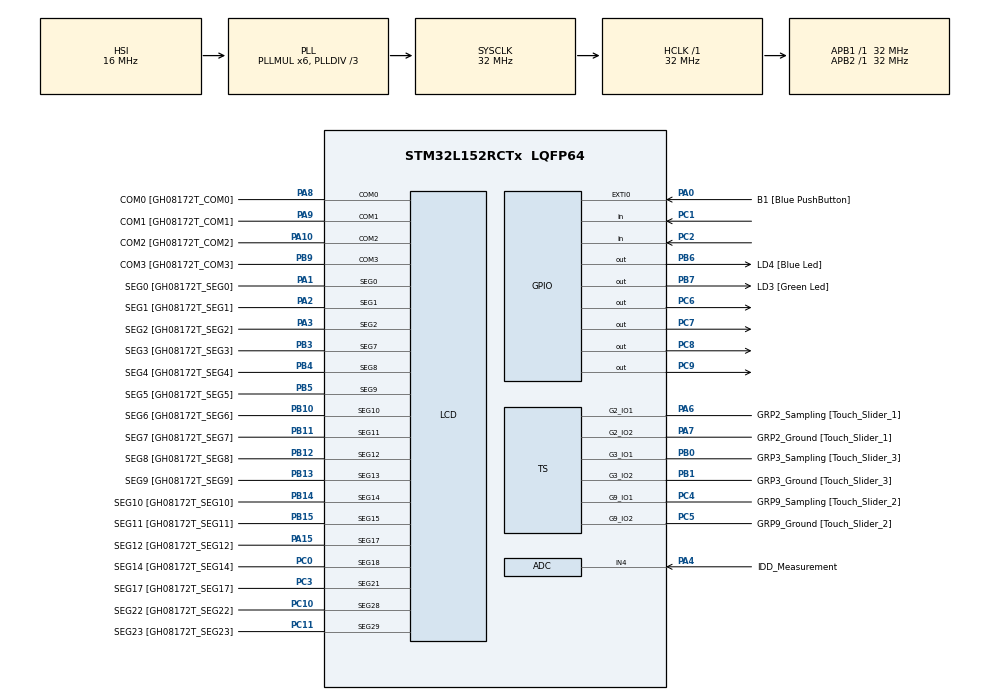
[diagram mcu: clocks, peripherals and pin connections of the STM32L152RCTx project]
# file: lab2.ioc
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ADC.Channel=ADC_CHANNEL_4
ADC.Channel-0\#ChannelRegularConversion=ADC_CHANNEL_4
ADC.Channel-IN4=ADC_CHANNEL_4
ADC.ExternalTrigConv=ADC_EXTERNALTRIGCONV_T2_CC3
ADC.ExternalTrigConv-0\#ChannelRegularConversion=ADC_SOFTWARE_START
ADC.ExternalTrigConvEdge=ADC_EXTERNALTRIGCONVEDGE_RISING
ADC.Rank-0\#ChannelRegularConversion=1
ADC.SamplingTime-0\#ChannelRegularConversion=ADC_SAMPLETIME_4CYCLES
Mcu.Family=STM32L1
Mcu.Name=STM32L152RCTx
Mcu.Package=LQFP64
NVIC.PriorityGroup=NVIC_PRIORITYGROUP_0
PA0-WKUP1.GPIO_Label=B1 [Blue PushButton]
PA0-WKUP1.GPIO_ModeDefaultEXTI=GPIO_MODE_EVT_RISING
PA0-WKUP1.GPIO_PuPd=GPIO_NOPULL
PA0-WKUP1.Signal=GPXTI0
PA1.GPIO_Label=SEG0 [GH08172T_SEG0]
PA1.GPIO_Mode=GPIO_MODE_AF_PP
PA1.GPIO_PuPd=GPIO_NOPULL
PA1.GPIO_Speed=GPIO_SPEED_FREQ_LOW
PA1.Mode=SEG0
PA1.Signal=LCD_SEG0
PA10.GPIO_Label=COM2 [GH08172T_COM2]
PA10.GPIO_Mode=GPIO_MODE_AF_PP
PA10.GPIO_PuPd=GPIO_NOPULL
PA10.GPIO_Speed=GPIO_SPEED_FREQ_LOW
PA10.Mode=1/4 Duty Cycle
PA10.Signal=LCD_COM2
PA13.GPIO_Label=SWDIO
PA13.Mode=Serial_Wire
PA13.Signal=SYS_JTMS-SWDIO
PA14.GPIO_Label=SWCLK
PA14.Mode=Serial_Wire
PA14.Signal=SYS_JTCK-SWCLK
PA15.GPIO_Label=SEG12 [GH08172T_SEG12]
PA15.GPIO_Mode=GPIO_MODE_AF_PP
PA15.GPIO_PuPd=GPIO_NOPULL
PA15.GPIO_Speed=GPIO_SPEED_FREQ_LOW
PA15.Mode=SEG17
PA15.Signal=LCD_SEG17
PA2.GPIO_Label=SEG1 [GH08172T_SEG1]
PA2.GPIO_Mode=GPIO_MODE_AF_PP
PA2.GPIO_PuPd=GPIO_NOPULL
PA2.GPIO_Speed=GPIO_SPEED_FREQ_LOW
PA2.Mode=SEG1
PA2.Signal=LCD_SEG1
PA3.GPIO_Label=SEG2 [GH08172T_SEG2]
PA3.GPIO_Mode=GPIO_MODE_AF_PP
PA3.GPIO_PuPd=GPIO_NOPULL
PA3.GPIO_Speed=GPIO_SPEED_FREQ_LOW
PA3.Mode=SEG2
PA3.Signal=LCD_SEG2
PA4.GPIO_Label=IDD_Measurement
PA4.GPIO_Mode=GPIO_MODE_ANALOG
PA4.GPIO_PuPd=GPIO_NOPULL
PA4.Mode=IN4
PA4.Signal=ADC_IN4
PA6.GPIO_Label=GRP2_Sampling [Touch_Slider_1]
PA6.Mode=G2_IO1-Sampling
PA6.Signal=TS_G2_IO1
PA7.GPIO_Label=GRP2_Ground [Touch_Slider_1]
PA7.Mode=G2_IO2-Channel
PA7.Signal=TS_G2_IO2
PA8.GPIO_Label=COM0 [GH08172T_COM0]
PA8.GPIO_Mode=GPIO_MODE_AF_PP
PA8.GPIO_PuPd=GPIO_NOPULL
PA8.GPIO_Speed=GPIO_SPEED_FREQ_LOW
PA8.Mode=1/4 Duty Cycle
PA8.Signal=LCD_COM0
PA9.GPIO_Label=COM1 [GH08172T_COM1]
PA9.GPIO_Mode=GPIO_MODE_AF_PP
PA9.GPIO_PuPd=GPIO_NOPULL
PA9.GPIO_Speed=GPIO_SPEED_FREQ_LOW
PA9.Mode=1/4 Duty Cycle
PA9.Signal=LCD_COM1
PB0.GPIO_Label=GRP3_Sampling [Touch_Slider_3]
PB0.Mode=G3_IO1-Sampling
PB0.Signal=TS_G3_IO1
PB1.GPIO_Label=GRP3_Ground [Touch_Slider_3]
PB1.Mode=G3_IO2-Channel
PB1.Signal=TS_G3_IO2
PB10.GPIO_Label=SEG6 [GH08172T_SEG6]
PB10.GPIO_Mode=GPIO_MODE_AF_PP
PB10.GPIO_PuPd=GPIO_NOPULL
PB10.GPIO_Speed=GPIO_SPEED_FREQ_LOW
PB10.Mode=SEG10
PB10.Signal=LCD_SEG10
PB11.GPIO_Label=SEG7 [GH08172T_SEG7]
PB11.GPIO_Mode=GPIO_MODE_AF_PP
PB11.GPIO_PuPd=GPIO_NOPULL
PB11.GPIO_Speed=GPIO_SPEED_FREQ_LOW
PB11.Mode=SEG11
PB11.Signal=LCD_SEG11
PB12.GPIO_Label=SEG8 [GH08172T_SEG8]
PB12.GPIO_Mode=GPIO_MODE_AF_PP
PB12.GPIO_PuPd=GPIO_NOPULL
PB12.GPIO_Speed=GPIO_SPEED_FREQ_LOW
PB12.Mode=SEG12
PB12.Signal=LCD_SEG12
PB13.GPIO_Label=SEG9 [GH08172T_SEG9]
PB13.GPIO_Mode=GPIO_MODE_AF_PP
PB13.GPIO_PuPd=GPIO_NOPULL
PB13.GPIO_Speed=GPIO_SPEED_FREQ_LOW
PB13.Mode=SEG13
PB13.Signal=LCD_SEG13
PB14.GPIO_Label=SEG10 [GH08172T_SEG10]
PB14.GPIO_Mode=GPIO_MODE_AF_PP
PB14.GPIO_PuPd=GPIO_NOPULL
PB14.GPIO_Speed=GPIO_SPEED_FREQ_LOW
PB14.Mode=SEG14
PB14.Signal=LCD_SEG14
PB15.GPIO_Label=SEG11 [GH08172T_SEG11]
PB15.GPIO_Mode=GPIO_MODE_AF_PP
PB15.GPIO_PuPd=GPIO_NOPULL
PB15.GPIO_Speed=GPIO_SPEED_FREQ_LOW
PB15.Mode=SEG15
PB15.Signal=LCD_SEG15
PB3.GPIO_Label=SEG3 [GH08172T_SEG3]
PB3.GPIO_Mode=GPIO_MODE_AF_PP
PB3.GPIO_PuPd=GPIO_NOPULL
PB3.GPIO_Speed=GPIO_SPEED_FREQ_LOW
PB3.Mode=SEG7
PB3.Signal=LCD_SEG7
PB4.GPIO_Label=SEG4 [GH08172T_SEG4]
PB4.GPIO_Mode=GPIO_MODE_AF_PP
PB4.GPIO_PuPd=GPIO_NOPULL
PB4.GPIO_Speed=GPIO_SPEED_FREQ_LOW
PB4.Mode=SEG8
PB4.Signal=LCD_SEG8
PB5.GPIO_Label=SEG5 [GH08172T_SEG5]
PB5.GPIO_Mode=GPIO_MODE_AF_PP
PB5.GPIO_PuPd=GPIO_NOPULL
PB5.GPIO_Speed=GPIO_SPEED_FREQ_LOW
PB5.Mode=SEG9
PB5.Signal=LCD_SEG9
PB6.GPIO_Label=LD4 [Blue Led]
PB6.GPIO_ModeDefaultOutputPP=GPIO_MODE_OUTPUT_PP
PB6.GPIO_PuPd=GPIO_NOPULL
PB6.GPIO_Speed=GPIO_SPEED_FREQ_LOW
PB6.Signal=GPIO_Output
PB7.GPIO_Label=LD3 [Green Led]
PB7.GPIO_ModeDefaultOutputPP=GPIO_MODE_OUTPUT_PP
PB7.GPIO_PuPd=GPIO_NOPULL
PB7.GPIO_Speed=GPIO_SPEED_FREQ_LOW
PB7.Signal=GPIO_Output
PB9.GPIO_Label=COM3 [GH08172T_COM3]
PB9.GPIO_Mode=GPIO_MODE_AF_PP
PB9.GPIO_PuPd=GPIO_NOPULL
PB9.GPIO_Speed=GPIO_SPEED_FREQ_LOW
PB9.Mode=1/4 Duty Cycle
PB9.Signal=LCD_COM3
PC0.GPIO_Label=SEG14 [GH08172T_SEG14]
PC0.GPIO_Mode=GPIO_MODE_AF_PP
PC0.GPIO_PuPd=GPIO_NOPULL
PC0.GPIO_Speed=GPIO_SPEED_FREQ_LOW
PC0.Mode=SEG18
PC0.Signal=LCD_SEG18
PC1.Signal=GPIO_Input
PC10.GPIO_Label=SEG22 [GH08172T_SEG22]
PC10.GPIO_Mode=GPIO_MODE_AF_PP
PC10.GPIO_PuPd=GPIO_NOPULL
PC10.GPIO_Speed=GPIO_SPEED_FREQ_LOW
PC10.Mode=SEG28
PC10.Signal=LCD_SEG28
PC11.GPIO_Label=SEG23 [GH08172T_SEG23]
PC11.GPIO_Mode=GPIO_MODE_AF_PP
PC11.GPIO_PuPd=GPIO_NOPULL
PC11.GPIO_Speed=GPIO_SPEED_FREQ_LOW
PC11.Mode=SEG29
PC11.Signal=LCD_SEG29
PC14-OSC32_IN.GPIO_Label=PC14-OSC32_IN
PC14-OSC32_IN.Mode=LSE-External-Oscillator
PC14-OSC32_IN.Signal=RCC_OSC32_IN
PC15-OSC32_OUT.GPIO_Label=PC15-OSC32_OUT
PC15-OSC32_OUT.Mode=LSE-External-Oscillator
PC15-OSC32_OUT.Signal=RCC_OSC32_OUT
PC2.Signal=GPIO_Input
PC3.GPIO_Label=SEG17 [GH08172T_SEG17]
PC3.GPIO_Mode=GPIO_MODE_AF_PP
PC3.GPIO_PuPd=GPIO_NOPULL
PC3.GPIO_Speed=GPIO_SPEED_FREQ_LOW
PC3.Mode=SEG21
PC3.Signal=LCD_SEG21
PC4.GPIO_Label=GRP9_Sampling [Touch_Slider_2]
PC4.Mode=G9_IO1-Sampling
PC4.Signal=TS_G9_IO1
PC5.GPIO_Label=GRP9_Ground [Touch_Slider_2]
PC5.Mode=G9_IO2-Channel
PC5.Signal=TS_G9_IO2
PC6.Signal=GPIO_Output
PC7.Signal=GPIO_Output
PC8.Signal=GPIO_Output
PC9.Signal=GPIO_Output
ProjectManager.HeapSize=0x200
ProjectManager.StackSize=0x400
ProjectManager.TargetToolchain=STM32CubeIDE
RCC.48MHZClocksFreq_Value=48000000
RCC.AHBFreq_Value=32000000
RCC.APB1Freq_Value=32000000
RCC.APB1TimFreq_Value=32000000
RCC.APB2Freq_Value=32000000
RCC.APB2TimFreq_Value=32000000
RCC.HCLKFreq_Value=32000000
RCC.HSE_VALUE=8000000
RCC.HSI_VALUE=16000000
RCC.MSI_VALUE=2097000
RCC.PLLDIV=RCC_PLL_DIV3
RCC.PLLMUL=RCC_PLL_MUL6
RCC.RTCClockSelectionVirtual=RCC_RTCCLKSOURCE_LSE
RCC.SYSCLKFreq_VALUE=32000000
RCC.SYSCLKSource=RCC_SYSCLKSOURCE_PLLCLK
RCC.USBOutput=48000000
RCC.VCOOutputFreq_Value=96000000
VP_TIM4_VS_ClockSourceINT.Mode=Internal
board=STM32L152C-DISCO

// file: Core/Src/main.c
/* USER CODE BEGIN Header */
/**
  ******************************************************************************
  * @file           : main.c
  * @brief          : Main program body
  ******************************************************************************
  * @attention
  *
  * Copyright (c) 2024 STMicroelectronics.
  * All rights reserved.
  *
  * This software is licensed under terms that can be found in the LICENSE file
  * in the root directory of this software component.
  * If no LICENSE file comes with this software, it is provided AS-IS.
  *
  ******************************************************************************
  */
/* USER CODE END Header */
#include "main.h"
#include "stm32l152c_discovery.h"

/* USER CODE BEGIN PD */
#define MOTOR_A_IN1_PIN GPIO_PIN_6 // PC6
#define MOTOR_A_IN2_PIN GPIO_PIN_7 // PC7
#define MOTOR_B_IN3_PIN GPIO_PIN_8 // PC8
#define MOTOR_B_IN4_PIN GPIO_PIN_9 // PC9
#define BUZZER_PIN GPIO_PIN_8 // PB8
/* USER CODE END PD */

ADC_HandleTypeDef hadc;

LCD_HandleTypeDef hlcd;

TIM_HandleTypeDef htim4;

/* USER CODE BEGIN PV */
unsigned char SENSOR_1 = 0; // 0 for white 1 for black
unsigned char SENSOR_2 = 0;
unsigned char state;
/* USER CODE END PV */

void SystemClock_Config(void);
static void MX_GPIO_Init(void);
static void MX_ADC_Init(void);
static void MX_LCD_Init(void);
static void MX_TS_Init(void);
static void MX_TIM4_Init(void);

/* USER CODE BEGIN 0 */
void stopWheels(void) {
    // Stop both motors
    GPIOC->BSRR = (GPIO_PIN_6 | GPIO_PIN_7 | GPIO_PIN_8 | GPIO_PIN_9) << 16;
}
void moveForward(void) {
    // Move both motors forward
    GPIOC->BSRR = GPIO_PIN_6 | GPIO_PIN_8;
    GPIOC->BSRR = (GPIO_PIN_7 | GPIO_PIN_9) << 16;
}

void turnRight(void) {
    // Turn right by moving right motor forward and left motor backward
    GPIOC->BSRR = GPIO_PIN_6 | GPIO_PIN_9;
    GPIOC->BSRR = (GPIO_PIN_7) << 16;
    GPIOC->BSRR = (GPIO_PIN_8) << 16;
}

void turnLeft(void) {
    // Turn left by moving left motor forward and right motor backward
    GPIOC->BSRR = GPIO_PIN_7 | GPIO_PIN_8;
    GPIOC->BSRR = (GPIO_PIN_6) << 16;
    GPIOC->BSRR = (GPIO_PIN_9) << 16;
}
void moveBackward(void) {
    // Move both motors backward
    GPIOC->BSRR = GPIO_PIN_7 | GPIO_PIN_9;
    GPIOC->BSRR = (GPIO_PIN_6 | GPIO_PIN_8) << 16;
}
void EXTI1_IRQHandler(void){  //for the right sensor
	if(EXTI -> PR == (1<<1)){
		SENSOR_1 = 1;
		EXTI -> PR |= (1<<1); // clean the flags with a 1
	}

}

void EXTI2_IRQHandler(void){  //for the left sensor
	if(EXTI -> PR == (1<<2)){
		SENSOR_2 = 1;
			EXTI -> PR |= (1<<2); //clean the flags with a 1
		}

}

void TIM4_IRQHandler(void){
	if((TIM4->SR & (1<<1))!=0){
	if(state == 0){
		state = 1;
	}
	else{
		state = 0;
	}

	TIM4->CCR1 += 250;

	TIM4->SR &= ~(1<<1);
}
}
/* USER CODE END 0 */

int main(void)
{

  /* MCU Configuration--------------------------------------------------------*/

  /* Reset of all peripherals, Initializes the Flash interface and the Systick. */
  HAL_Init();

  /* Configure the system clock */
  SystemClock_Config();

  /* Initialize all configured peripherals */
  MX_GPIO_Init();
  MX_ADC_Init();
  MX_LCD_Init();
  MX_TS_Init();
  MX_TIM4_Init();
  /* USER CODE BEGIN 2 */
  // PC6, PC7, PC8, and PC9 as digital outputs (01)
    GPIOC->MODER &= ~(1 << (6*2+1));
    GPIOC->MODER |= (1 << (6*2));
    GPIOC->MODER &= ~(1 << (7*2+1));
    GPIOC->MODER |= (1 << (7*2));
    GPIOC->MODER &= ~(1 << (8*2+1));
    GPIOC->MODER |= (1 << (8*2));
    GPIOC->MODER &= ~(1 << (9*2+1));
    GPIOC->MODER |= (1 << (9*2));

    // PC1 & PC2 as digital input (00)
    GPIOC->MODER &= ~(1 << (1*2+1));
    GPIOC->MODER &= ~(1 << (1*2));

    GPIOC->MODER &= ~(1 << (2*2+1));
    GPIOC->MODER &= ~(1 << (2*2));

    //Configure the EXTI1
    //Hacemos la interrupcion del primer infrarrojo
    SYSCFG -> EXTICR[0] = 0;
    EXTI -> IMR |= (1<<1);
    EXTI -> RTSR |= (1<<1);
    EXTI -> FTSR |= (1<<1);
    NVIC->ISER[0] |= (1 << 7);  //EXTI1 posicion 7

     //Configure the EXTI2
    SYSCFG -> EXTICR[0] = 0;
    EXTI -> IMR |= (1<<2);
    EXTI -> RTSR |= (1<<2);
    EXTI -> FTSR |= (1<<2);
    NVIC->ISER[0] |= (1 << 8); //EXTI2 posicion 8

     //Configure buzzer
     GPIOB->MODER &= ~(1 << (8 * 2));
     GPIOB->MODER |= (1 << (8 * 2+1));
     //TIMERS
     TIM4->CR1 = 0;
     TIM4->CR2 = 0;
     TIM4->SMCR = 0;

     TIM4->CNT = 0;
     TIM4->PSC = 31999;
     TIM4->ARR = 0xFFFF;
     TIM4->CCR1 = 250;

     TIM4->CCMR1 = 0;
     TIM4->CCMR2 = 0;
     TIM4->CCER = 0;

     TIM4->DIER = (1<<1);

     TIM4->EGR |= 0x0001;
     TIM4->SR = 0;
     TIM4->CR1 |= 0x0001;

     NVIC->ISER[0] |= (1 << 30);

  /* USER CODE END 2 */

  /* Infinite loop */
  while (1)
  {
	  if(((GPIOC->IDR&(1<<1))!=0) && ((GPIOC->IDR&(1<<2))!=0)){
	  	stopWheels();
	  	GPIOB -> BSRR |= (1<<(8+16));
	  	  }
	  	  else if(((GPIOC->IDR&(1<<1))!=0) && ((GPIOC->IDR&(1<<2))==0)){
	  		  turnRight();
	  		 if(state == 1){
	  					 		  GPIOB -> BSRR |= (1<<(8+16));
	  					 	  }
	  					 	  else{
	  					 		  GPIOB -> BSRR |= (1<<8);
	  					 	  }

	  	  }
	  	  else if(((GPIOC->IDR&(1<<1))==0) && ((GPIOC->IDR&(1<<2))!=0)){
	  		  turnLeft();
	  		 if(state == 1){
	  					 		  GPIOB -> BSRR |= (1<<(8+16));
	  					 	  }
	  					 	  else{
	  					 		  GPIOB -> BSRR |= (1<<8);
	  					 	  }
	  	  }
	  	  else if(((GPIOC->IDR&(1<<1))==0) && ((GPIOC->IDR&(1<<2))==0)){
	  		  moveForward();
	  		  GPIOB -> BSRR |= (1<<8);
	  	  }
	  SENSOR_1=0;
	  SENSOR_2=0;
  }
}
void SystemClock_Config(void)
{
  RCC_OscInitTypeDef RCC_OscInitStruct = {0};
  RCC_ClkInitTypeDef RCC_ClkInitStruct = {0};
  RCC_PeriphCLKInitTypeDef PeriphClkInit = {0};

  /** Configure the main internal regulator output voltage
  */
  __HAL_PWR_VOLTAGESCALING_CONFIG(PWR_REGULATOR_VOLTAGE_SCALE1);

  /** Initializes the RCC Oscillators according to the specified parameters
  * in the RCC_OscInitTypeDef structure.
  */
  RCC_OscInitStruct.OscillatorType = RCC_OSCILLATORTYPE_HSI|RCC_OSCILLATORTYPE_LSE;
  RCC_OscInitStruct.LSEState = RCC_LSE_ON;
  RCC_OscInitStruct.HSIState = RCC_HSI_ON;
  RCC_OscInitStruct.HSICalibrationValue = RCC_HSICALIBRATION_DEFAULT;
  RCC_OscInitStruct.PLL.PLLState = RCC_PLL_ON;
  RCC_OscInitStruct.PLL.PLLSource = RCC_PLLSOURCE_HSI;
  RCC_OscInitStruct.PLL.PLLMUL = RCC_PLL_MUL6;
  RCC_OscInitStruct.PLL.PLLDIV = RCC_PLL_DIV3;
  if (HAL_RCC_OscConfig(&RCC_OscInitStruct) != HAL_OK)
  {
    Error_Handler();
  }

  /** Initializes the CPU, AHB and APB buses clocks
  */
  RCC_ClkInitStruct.ClockType = RCC_CLOCKTYPE_HCLK|RCC_CLOCKTYPE_SYSCLK
                              |RCC_CLOCKTYPE_PCLK1|RCC_CLOCKTYPE_PCLK2;
  RCC_ClkInitStruct.SYSCLKSource = RCC_SYSCLKSOURCE_PLLCLK;
  RCC_ClkInitStruct.AHBCLKDivider = RCC_SYSCLK_DIV1;
  RCC_ClkInitStruct.APB1CLKDivider = RCC_HCLK_DIV1;
  RCC_ClkInitStruct.APB2CLKDivider = RCC_HCLK_DIV1;

  if (HAL_RCC_ClockConfig(&RCC_ClkInitStruct, FLASH_LATENCY_1) != HAL_OK)
  {
    Error_Handler();
  }
  PeriphClkInit.PeriphClockSelection = RCC_PERIPHCLK_RTC|RCC_PERIPHCLK_LCD;
  PeriphClkInit.RTCClockSelection = RCC_RTCCLKSOURCE_LSE;
  PeriphClkInit.LCDClockSelection = RCC_RTCCLKSOURCE_LSE;

  if (HAL_RCCEx_PeriphCLKConfig(&PeriphClkInit) != HAL_OK)
  {
    Error_Handler();
  }
}

static void MX_ADC_Init(void)
{

  ADC_ChannelConfTypeDef sConfig = {0};

  /** Configure the global features of the ADC (Clock, Resolution, Data Alignment and number of conversion)
  */
  hadc.Instance = ADC1;
  hadc.Init.ClockPrescaler = ADC_CLOCK_ASYNC_DIV1;
  hadc.Init.Resolution = ADC_RESOLUTION_12B;
  hadc.Init.DataAlign = ADC_DATAALIGN_RIGHT;
  hadc.Init.ScanConvMode = ADC_SCAN_DISABLE;
  hadc.Init.EOCSelection = ADC_EOC_SEQ_CONV;
  hadc.Init.LowPowerAutoWait = ADC_AUTOWAIT_DISABLE;
  hadc.Init.LowPowerAutoPowerOff = ADC_AUTOPOWEROFF_DISABLE;
  hadc.Init.ChannelsBank = ADC_CHANNELS_BANK_A;
  hadc.Init.ContinuousConvMode = DISABLE;
  hadc.Init.NbrOfConversion = 1;
  hadc.Init.DiscontinuousConvMode = DISABLE;
  hadc.Init.ExternalTrigConv = ADC_EXTERNALTRIGCONV_T2_CC3;
  hadc.Init.ExternalTrigConvEdge = ADC_EXTERNALTRIGCONVEDGE_RISING;
  hadc.Init.DMAContinuousRequests = DISABLE;
  if (HAL_ADC_Init(&hadc) != HAL_OK)
  {
    Error_Handler();
  }

  /** Configure for the selected ADC regular channel its corresponding rank in the sequencer and its sample time.
  */
  sConfig.Channel = ADC_CHANNEL_4;
  sConfig.Rank = ADC_REGULAR_RANK_1;
  sConfig.SamplingTime = ADC_SAMPLETIME_4CYCLES;
  if (HAL_ADC_ConfigChannel(&hadc, &sConfig) != HAL_OK)
  {
    Error_Handler();
  }

}

static void MX_LCD_Init(void)
{

  hlcd.Instance = LCD;
  hlcd.Init.Prescaler = LCD_PRESCALER_1;
  hlcd.Init.Divider = LCD_DIVIDER_16;
  hlcd.Init.Duty = LCD_DUTY_1_4;
  hlcd.Init.Bias = LCD_BIAS_1_4;
  hlcd.Init.VoltageSource = LCD_VOLTAGESOURCE_INTERNAL;
  hlcd.Init.Contrast = LCD_CONTRASTLEVEL_0;
  hlcd.Init.DeadTime = LCD_DEADTIME_0;
  hlcd.Init.PulseOnDuration = LCD_PULSEONDURATION_0;
  hlcd.Init.MuxSegment = LCD_MUXSEGMENT_DISABLE;
  hlcd.Init.BlinkMode = LCD_BLINKMODE_OFF;
  hlcd.Init.BlinkFrequency = LCD_BLINKFREQUENCY_DIV8;
  if (HAL_LCD_Init(&hlcd) != HAL_OK)
  {
    Error_Handler();
  }

}

static void MX_TIM4_Init(void)
{

  TIM_ClockConfigTypeDef sClockSourceConfig = {0};
  TIM_MasterConfigTypeDef sMasterConfig = {0};

  htim4.Instance = TIM4;
  htim4.Init.Prescaler = 0;
  htim4.Init.CounterMode = TIM_COUNTERMODE_UP;
  htim4.Init.Period = 65535;
  htim4.Init.ClockDivision = TIM_CLOCKDIVISION_DIV1;
  htim4.Init.AutoReloadPreload = TIM_AUTORELOAD_PRELOAD_DISABLE;
  if (HAL_TIM_Base_Init(&htim4) != HAL_OK)
  {
    Error_Handler();
  }
  sClockSourceConfig.ClockSource = TIM_CLOCKSOURCE_INTERNAL;
  if (HAL_TIM_ConfigClockSource(&htim4, &sClockSourceConfig) != HAL_OK)
  {
    Error_Handler();
  }
  sMasterConfig.MasterOutputTrigger = TIM_TRGO_RESET;
  sMasterConfig.MasterSlaveMode = TIM_MASTERSLAVEMODE_DISABLE;
  if (HAL_TIMEx_MasterConfigSynchronization(&htim4, &sMasterConfig) != HAL_OK)
  {
    Error_Handler();
  }

}

static void MX_TS_Init(void)
{

}

static void MX_GPIO_Init(void)
{
  GPIO_InitTypeDef GPIO_InitStruct = {0};

  /* GPIO Ports Clock Enable */
  __HAL_RCC_GPIOC_CLK_ENABLE();
  __HAL_RCC_GPIOA_CLK_ENABLE();
  __HAL_RCC_GPIOB_CLK_ENABLE();

  /*Configure GPIO pin Output Level */
  HAL_GPIO_WritePin(GPIOC, GPIO_PIN_6|GPIO_PIN_7|GPIO_PIN_8|GPIO_PIN_9, GPIO_PIN_RESET);

  /*Configure GPIO pin Output Level */
  HAL_GPIO_WritePin(GPIOB, LD4_Pin|LD3_Pin, GPIO_PIN_RESET);

  /*Configure GPIO pins : PC1 PC2 */
  GPIO_InitStruct.Pin = GPIO_PIN_1|GPIO_PIN_2;
  GPIO_InitStruct.Mode = GPIO_MODE_INPUT;
  GPIO_InitStruct.Pull = GPIO_NOPULL;
  HAL_GPIO_Init(GPIOC, &GPIO_InitStruct);

  /*Configure GPIO pin : B1_Pin */
  GPIO_InitStruct.Pin = B1_Pin;
  GPIO_InitStruct.Mode = GPIO_MODE_EVT_RISING;
  GPIO_InitStruct.Pull = GPIO_NOPULL;
  HAL_GPIO_Init(B1_GPIO_Port, &GPIO_InitStruct);

  /*Configure GPIO pins : PC6 PC7 PC8 PC9 */
  GPIO_InitStruct.Pin = GPIO_PIN_6|GPIO_PIN_7|GPIO_PIN_8|GPIO_PIN_9;
  GPIO_InitStruct.Mode = GPIO_MODE_OUTPUT_PP;
  GPIO_InitStruct.Pull = GPIO_NOPULL;
  GPIO_InitStruct.Speed = GPIO_SPEED_FREQ_LOW;
  HAL_GPIO_Init(GPIOC, &GPIO_InitStruct);

  /*Configure GPIO pins : LD4_Pin LD3_Pin */
  GPIO_InitStruct.Pin = LD4_Pin|LD3_Pin;
  GPIO_InitStruct.Mode = GPIO_MODE_OUTPUT_PP;
  GPIO_InitStruct.Pull = GPIO_NOPULL;
  GPIO_InitStruct.Speed = GPIO_SPEED_FREQ_LOW;
  HAL_GPIO_Init(GPIOB, &GPIO_InitStruct);

}

void Error_Handler(void)
{
  __disable_irq();
  while (1)
  {
  }
}
